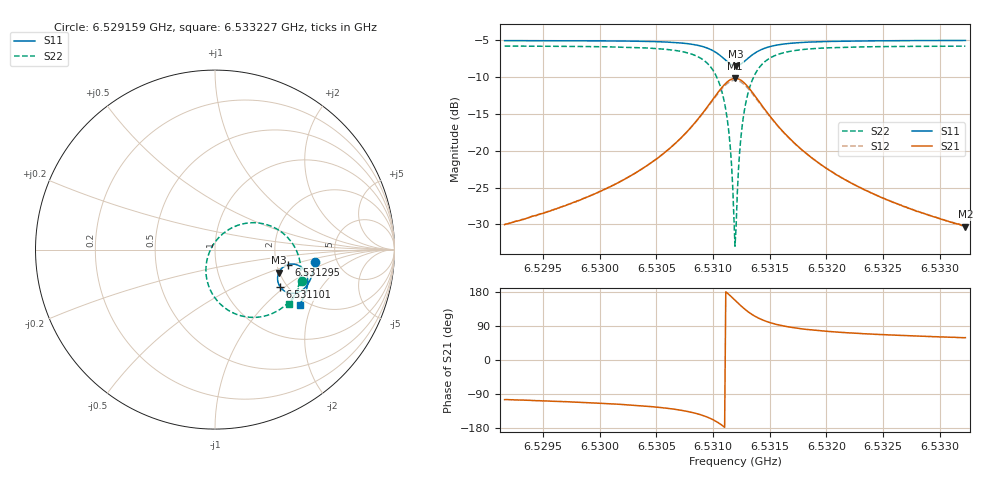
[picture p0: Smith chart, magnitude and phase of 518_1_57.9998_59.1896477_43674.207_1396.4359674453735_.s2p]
#  HZ  S  RI  R  50.00
! Rohde & Schwarz Vector Network Analyzer
! Rohde-Schwarz,ZNB20-2Port,1311601062101988,3.16
! Created: UTC 3/21/2024, 1:13:28 AM
! freq[Hz]  re:S11  im:S11  re:S21  im:S21  re:S12  im:S12  re:S22  im:S22
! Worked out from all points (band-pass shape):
!   401 points, 6.529159 GHz to 6.533227 GHz, reference 50 ohm
!   highest |S21| = -10.15 dB at 6.531193 GHz (marker M1); lowest = -30.3 dB at 6.533227 GHz (marker M2)
!   |S21| within 3 dB of the highest: 6.530991 GHz to 6.531398 GHz (407.3 kHz wide, 0.00624 % of centre)
!   lowest |S11| = -8.4 dB at 6.531203 GHz (marker M3), VSWR 2.22, Z = 99.1 - j29.9 ohm
!   |S11| at or under -10 dB: nowhere
!   |S22| runs from -33.0 to -5.8 dB; largest |S21 - S12| = 0.012
!   S11 on the Smith chart (normalised r, x): 6.529159 GHz: 3.40, -0.70; 6.531101 GHz: 1.84, -0.93; 6.531295 GHz: 2.32, -0.47; 6.533227 GHz: 1.82, -1.64
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6.5291593e9  0.5564 -0.0707  -0.00792 -0.0304  -0.00845 -0.0304  0.4846 -0.1748
6.5298405e9  0.545 -0.1275  -0.0175 -0.0434  -0.0185 -0.0431  0.453 -0.2381
6.5305218e9  0.5155 -0.1952  -0.052 -0.0741  -0.0541 -0.0727  0.3701 -0.3273
6.5307557e9  0.4879 -0.2245  -0.0924 -0.0933  -0.0951 -0.0902  0.2887 -0.3671
6.5309286e9  0.4434 -0.2429  -0.1613 -0.0991  -0.1635 -0.0925  0.1616 -0.3725
6.5310303e9  0.3983 -0.2367  -0.2313 -0.0717  -0.2302 -0.0621  0.0434 -0.3157
6.5311015e9  0.3634 -0.2084  -0.2823 -0.012  -0.2764 -0.00225  -0.0336 -0.2072
6.5311421e9  0.3507 -0.1799  -0.2981 0.0415  -0.2889 0.0495  -0.0507 -0.1159
6.5311828e9  0.35 -0.146  -0.2929 0.1024  -0.2818 0.1069  -0.0319 -0.0163
6.531193e9  0.3523 -0.1375  -0.2877 0.1175  -0.2765 0.1209  -0.0212 0.00742
6.5312031e9  0.3552 -0.1293  -0.2812 0.132  -0.27 0.1343  -0.00812 0.0299
6.5312133e9  0.3592 -0.1216  -0.2731 0.1458  -0.2622 0.147  0.0071 0.051
6.5312336e9  0.3691 -0.1076  -0.2537 0.1699  -0.2434 0.1695  0.0428 0.0876
6.5312438e9  0.3751 -0.1016  -0.2427 0.1803  -0.2328 0.1791  0.0627 0.1028
6.5312642e9  0.3881 -0.0919  -0.2186 0.197  -0.2099 0.1947  0.1048 0.1265
6.5312947e9  0.4089 -0.0831  -0.1812 0.2124  -0.1743 0.2091  0.169 0.146
6.5313658e9  0.4526 -0.0835  -0.1045 0.2139  -0.1011 0.2107  0.2976 0.136
6.5314675e9  0.4906 -0.1065  -0.0389 0.1818  -0.0374 0.1801  0.4045 0.0678
6.5316201e9  0.5121 -0.1432  0.0003 0.1339  0.00147 0.1334  0.4631 -0.0288
6.5318743e9  0.5166 -0.1872  0.0168 0.0875  0.0178 0.0871  0.4776 -0.1272
6.5325556e9  0.4973 -0.2578  0.0184 0.0419  0.0192 0.0417  0.4496 -0.2441
6.5332267e9  0.4708 -0.308  0.0157 0.0261  0.0165 0.0259  0.4149 -0.3044
